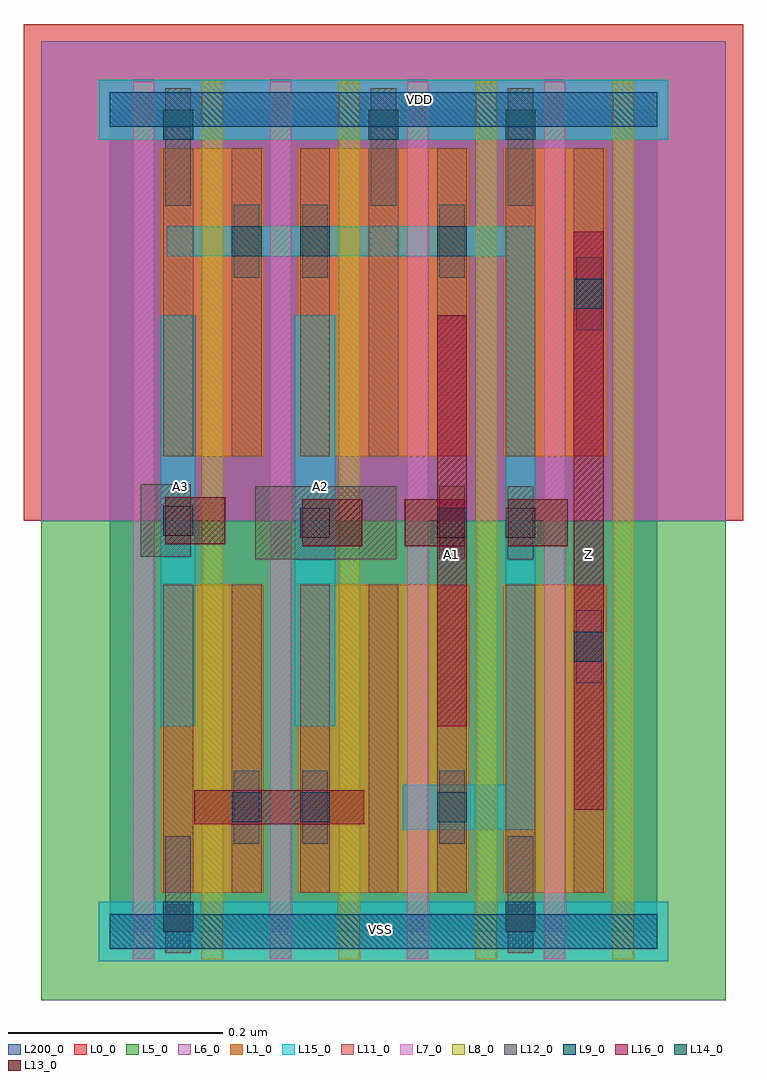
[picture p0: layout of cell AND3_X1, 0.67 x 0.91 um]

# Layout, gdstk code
import gdstk
lib = gdstk.Library(unit=1e-6, precision=1e-09)
def R(c, l, rs):  # rectangles x0, y0, x1, y1
    for r in rs: c.add(gdstk.rectangle(r[:2], r[2:], *l))
def A(c, l, x, y, w, h, nx, ny, dx, dy):  # array of equal rectangles
    R(c, l, [(x+i*dx, y+j*dy, x+i*dx+w, y+j*dy+h) for i in range(nx) for j in range(ny)])
def P(c, l, *ps):  # polygons
    for p in ps: c.add(gdstk.Polygon(p, *l))
L0_0 = (0, 0)
L1_0 = (1, 0)
L5_0 = (5, 0)
L6_0 = (6, 0)
L7_0 = (7, 0)
L8_0 = (8, 0)
L9_0 = (9, 0)
L11_0 = (11, 0)
L12_0 = (12, 0)
L13_0 = (13, 0)
L14_0 = (14, 0)
L15_0 = (15, 0)
L16_0 = (16, 0)
L200_0 = (200, 0)

and3_x1 = lib.new_cell('AND3_X1')
R(and3_x1, L0_0, [(-0.08,0.384,0.592,0.848)])
R(and3_x1, L1_0, [(0.048,0.036,0.144,0.324), (0.176,0.036,0.336,0.324), (0.368,0.036,0.464,0.324), (0.048,0.444,0.144,0.732), (0.176,0.444,0.336,0.732), (0.368,0.444,0.464,0.732)])
R(and3_x1, L5_0, [(-0.064,-0.064,0.576,0.384)])
R(and3_x1, L6_0, [(-0.064,0.384,0.576,0.832)])
A(and3_x1, L7_0, 0.022, -0.026, 0.02, 0.82, 4, 1, 0.128, 0)
A(and3_x1, L8_0, 0.086, -0.026, 0.02, 0.82, 4, 1, 0.128, 0)
R(and3_x1, L9_0, [(0,-0.016,0.512,0.016), (0,0.752,0.512,0.784)])
A(and3_x1, L11_0, 0.05, 0.036, 0.028, 0.288, 7, 2, 0.064, 0.408)
R(and3_x1, L12_0, [(0.052,-0.02,0.076,0.089), (0.372,-0.02,0.396,0.089), (0.116,0.082,0.14,0.15), (0.18,0.082,0.204,0.15), (0.308,0.082,0.332,0.15), (0.436,0.232,0.46,0.3), (0.136,0.348,0.268,0.416), (0.308,0.348,0.332,0.416), (0.372,0.348,0.396,0.416), (0.029,0.35,0.076,0.418), (0.436,0.562,0.46,0.63), (0.116,0.611,0.14,0.679), (0.18,0.611,0.204,0.679), (0.308,0.611,0.332,0.679), (0.052,0.678,0.076,0.788), (0.244,0.678,0.268,0.788), (0.372,0.678,0.396,0.788)])
A(and3_x1, L13_0, 0.18, 0.36, 0.056, 0.044, 3, 1, 0.096, 0)
R(and3_x1, L13_0, [(0.052,0.362,0.108,0.406)])
A(and3_x1, L14_0, 0.05, 0, 0.028, 0.028, 1, 3, 0, 0.37)
R(and3_x1, L14_0, [(0.37,0,0.398,0.028), (0.114,0.102,0.142,0.13), (0.178,0.102,0.206,0.13), (0.306,0.102,0.334,0.13), (0.434,0.252,0.462,0.28), (0.178,0.368,0.206,0.396), (0.306,0.368,0.334,0.396), (0.37,0.368,0.398,0.396), (0.434,0.582,0.462,0.61), (0.114,0.631,0.142,0.659), (0.178,0.631,0.206,0.659), (0.306,0.631,0.334,0.659), (0.242,0.74,0.27,0.768), (0.37,0.74,0.398,0.768)])
R(and3_x1, L15_0, [(-0.01,-0.028,0.522,0.028), (0.048,0.192,0.08,0.576), (0.173,0.192,0.211,0.576), (-0.01,0.74,0.522,0.796)])
P(and3_x1, L15_0, [(0.054,0.631),(0.37,0.631),(0.37,0.137),(0.274,0.137),(0.274,0.095),(0.398,0.095),(0.398,0.659),(0.054,0.659)])
R(and3_x1, L16_0, [(0.079,0.1,0.238,0.132), (0.434,0.114,0.462,0.654), (0.306,0.192,0.334,0.576)])
R(and3_x1, L200_0, [(0,0,0.512,0.768)])
and3_x1.add(gdstk.Label('VSS', (0.253,0.002), layer=15, texttype=20))
and3_x1.add(gdstk.Label('A3', (0.066,0.416), layer=15, texttype=20))
and3_x1.add(gdstk.Label('A2', (0.197,0.416), layer=15, texttype=20))
and3_x1.add(gdstk.Label('VDD', (0.29,0.777), layer=15, texttype=20))
and3_x1.add(gdstk.Label('A1', (0.32,0.352), layer=16, texttype=20))
and3_x1.add(gdstk.Label('Z', (0.448,0.352), layer=16, texttype=20))

lib.write_gds('AND3_X1.gds')
